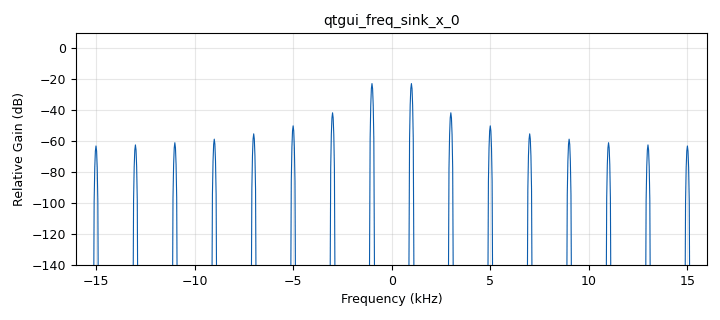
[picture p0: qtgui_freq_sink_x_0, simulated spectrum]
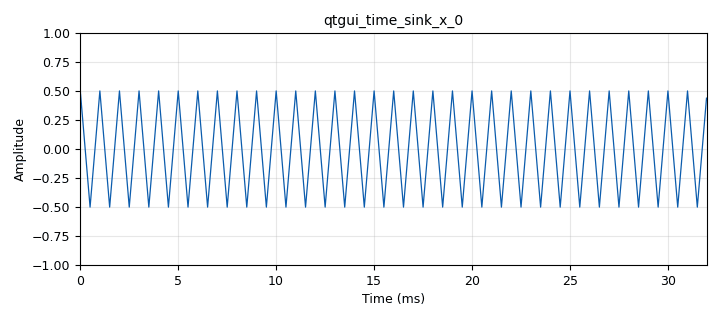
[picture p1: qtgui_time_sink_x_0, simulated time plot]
options:
  parameters:
    author: labcom
    generate_options: qt_gui
    id: PruebaXy
    output_language: python
    title: Not titled yet
  states: {}

blocks:
- name: samp_rate
  id: variable
  parameters:
    value: '32000'
  states: {}
- name: analog_sig_source_x_0
  id: analog_sig_source_x
  parameters:
    amp: '1'
    freq: '1000'
    offset: '-0.5'
    phase: '0'
    samp_rate: samp_rate
    type: float
    waveform: analog.GR_TRI_WAVE
  states: {}
- name: qtgui_freq_sink_x_0
  id: qtgui_freq_sink_x
  parameters:
    bw: samp_rate
    fc: '0'
    fftsize: '1024'
    type: float
  states: {}
- name: qtgui_time_sink_x_0
  id: qtgui_time_sink_x
  parameters:
    size: '1024'
    srate: samp_rate
    type: float
  states: {}

connections:
- [analog_sig_source_x_0, '0', qtgui_freq_sink_x_0, '0']
- [analog_sig_source_x_0, '0', qtgui_time_sink_x_0, '0']

metadata:
  file_format: 1
  grc_version: 3.10.5.1
